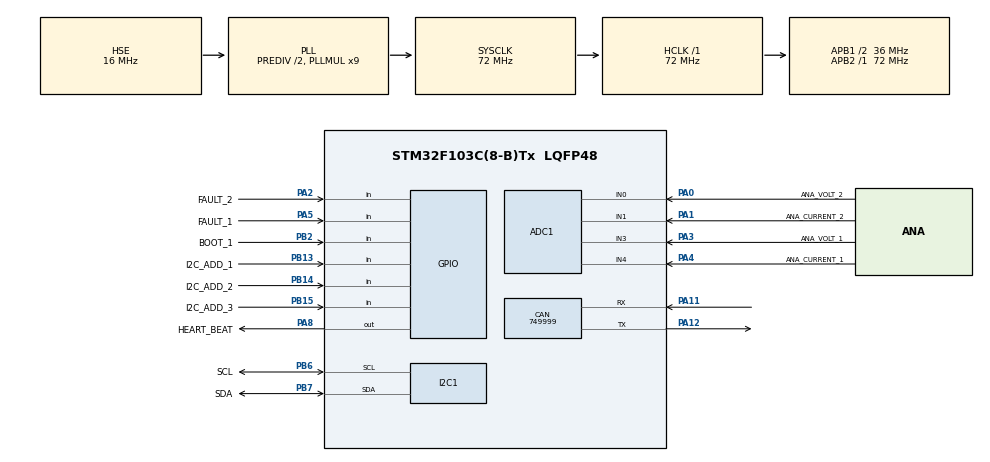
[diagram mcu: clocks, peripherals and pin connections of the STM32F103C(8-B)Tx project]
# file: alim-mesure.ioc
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ADC1.Channel-0\#ChannelRegularConversion=ADC_CHANNEL_0
ADC1.Channel-1\#ChannelRegularConversion=ADC_CHANNEL_1
ADC1.Channel-2\#ChannelRegularConversion=ADC_CHANNEL_3
ADC1.Channel-3\#ChannelRegularConversion=ADC_CHANNEL_4
ADC1.ContinuousConvMode=DISABLE
ADC1.EnableInjectedConversion=DISABLE
ADC1.ExternalTrigConv=ADC_SOFTWARE_START
ADC1.NbrOfConversion=4
ADC1.NbrOfConversionFlag=1
ADC1.Rank-0\#ChannelRegularConversion=1
ADC1.Rank-1\#ChannelRegularConversion=2
ADC1.Rank-2\#ChannelRegularConversion=3
ADC1.Rank-3\#ChannelRegularConversion=4
ADC1.SamplingTime-0\#ChannelRegularConversion=ADC_SAMPLETIME_1CYCLE_5
ADC1.SamplingTime-1\#ChannelRegularConversion=ADC_SAMPLETIME_1CYCLE_5
ADC1.SamplingTime-2\#ChannelRegularConversion=ADC_SAMPLETIME_1CYCLE_5
ADC1.SamplingTime-3\#ChannelRegularConversion=ADC_SAMPLETIME_1CYCLE_5
ADC1.master=1
CAN.CalculateBaudRate=749999
CAN.CalculateTimeBit=1333
CAN.CalculateTimeQuantum=444.44444444444446
Dma.I2C1_RX.0.Direction=DMA_PERIPH_TO_MEMORY
Dma.I2C1_RX.0.Instance=DMA1_Channel7
Dma.I2C1_RX.0.MemDataAlignment=DMA_MDATAALIGN_BYTE
Dma.I2C1_RX.0.MemInc=DMA_MINC_ENABLE
Dma.I2C1_RX.0.Mode=DMA_NORMAL
Dma.I2C1_RX.0.PeriphDataAlignment=DMA_PDATAALIGN_BYTE
Dma.I2C1_RX.0.PeriphInc=DMA_PINC_DISABLE
Dma.I2C1_RX.0.Priority=DMA_PRIORITY_HIGH
Dma.I2C1_TX.1.Direction=DMA_MEMORY_TO_PERIPH
Dma.I2C1_TX.1.Instance=DMA1_Channel6
Dma.I2C1_TX.1.MemDataAlignment=DMA_MDATAALIGN_BYTE
Dma.I2C1_TX.1.MemInc=DMA_MINC_ENABLE
Dma.I2C1_TX.1.Mode=DMA_NORMAL
Dma.I2C1_TX.1.PeriphDataAlignment=DMA_PDATAALIGN_BYTE
Dma.I2C1_TX.1.PeriphInc=DMA_PINC_DISABLE
Dma.I2C1_TX.1.Priority=DMA_PRIORITY_HIGH
Dma.Request0=I2C1_RX
Dma.Request1=I2C1_TX
FREERTOS.Tasks01=mainTask,24,256,StartMainTask,Default,NULL,Dynamic,NULL,NULL
FREERTOS.Timers01=heartBeatTimer,heartBeatCallback,osTimerPeriodic,Default,NULL,Dynamic,NULL
FREERTOS.configTIMER_TASK_PRIORITY=8
FREERTOS.configUSE_NEWLIB_REENTRANT=1
I2C1.DutyCycle=I2C_DUTYCYCLE_16_9
I2C1.I2C_Mode=I2C_Fast
I2C1.OwnAddress=i2cSlaveAddress
Mcu.Family=STM32F1
Mcu.Name=STM32F103C(8-B)Tx
Mcu.Package=LQFP48
Mcu.UserConstants=I2C_SLAVE_ADDRESS_BASE,0x20
NVIC.DMA1_Channel6_IRQn=true\:5\:0\:false\:false\:true\:true\:false\:true\:true
NVIC.DMA1_Channel7_IRQn=true\:5\:0\:false\:false\:true\:true\:false\:true\:true
NVIC.I2C1_ER_IRQn=true\:5\:0\:false\:false\:true\:false\:true\:true\:true
NVIC.I2C1_EV_IRQn=true\:5\:0\:false\:false\:true\:false\:true\:true\:true
NVIC.PriorityGroup=NVIC_PRIORITYGROUP_4
NVIC.TIM1_UP_IRQn=true\:0\:0\:false\:false\:true\:false\:false\:true\:true
NVIC.TimeBase=TIM1_UP_IRQn
NVIC.TimeBaseIP=TIM1
PA0-WKUP.GPIO_Label=ANA_VOLT_2
PA0-WKUP.Signal=ADCx_IN0
PA1.GPIO_Label=ANA_CURRENT_2
PA1.Signal=ADCx_IN1
PA11.Mode=CAN_Activate
PA11.Signal=CAN_RX
PA12.Mode=CAN_Activate
PA12.Signal=CAN_TX
PA13.Mode=Trace_Asynchronous_SW
PA13.Signal=SYS_JTMS-SWDIO
PA14.Mode=Trace_Asynchronous_SW
PA14.Signal=SYS_JTCK-SWCLK
PA2.GPIO_Label=FAULT_2
PA2.Signal=GPIO_Input
PA3.GPIO_Label=ANA_VOLT_1
PA3.Signal=ADCx_IN3
PA4.GPIO_Label=ANA_CURRENT_1
PA4.Signal=ADCx_IN4
PA5.GPIO_Label=FAULT_1
PA5.Signal=GPIO_Input
PA8.GPIO_Label=HEART_BEAT
PA8.Signal=GPIO_Output
PB13.GPIO_Label=I2C_ADD_1
PB13.Signal=GPIO_Input
PB14.GPIO_Label=I2C_ADD_2
PB14.Signal=GPIO_Input
PB15.GPIO_Label=I2C_ADD_3
PB15.Signal=GPIO_Input
PB2.GPIO_Label=BOOT_1
PB2.Signal=GPIO_Input
PB3.Mode=Trace_Asynchronous_SW
PB3.Signal=SYS_JTDO-TRACESWO
PB6.GPIO_Label=SCL
PB6.GPIO_Mode=GPIO_MODE_AF_OD
PB6.GPIO_Pu=GPIO_PULLUP
PB6.GPIO_Speed=GPIO_SPEED_FREQ_HIGH
PB6.Mode=I2C
PB6.Signal=I2C1_SCL
PB7.GPIO_Label=SDA
PB7.GPIO_Pu=GPIO_PULLUP
PB7.Mode=I2C
PB7.Signal=I2C1_SDA
PD0-OSC_IN.Mode=HSE-External-Oscillator
PD0-OSC_IN.Signal=RCC_OSC_IN
PD1-OSC_OUT.Mode=HSE-External-Oscillator
PD1-OSC_OUT.Signal=RCC_OSC_OUT
ProjectManager.HeapSize=0x200
ProjectManager.StackSize=0x400
ProjectManager.TargetToolchain=STM32CubeIDE
RCC.ADCPresc=RCC_ADCPCLK2_DIV6
RCC.AHBFreq_Value=72000000
RCC.APB1CLKDivider=RCC_HCLK_DIV2
RCC.APB1Freq_Value=36000000
RCC.APB1TimFreq_Value=72000000
RCC.APB2Freq_Value=72000000
RCC.APB2TimFreq_Value=72000000
RCC.HCLKFreq_Value=72000000
RCC.HSEDivPLL=RCC_HSE_PREDIV_DIV2
RCC.HSE_VALUE=16000000
RCC.PLLMUL=RCC_PLL_MUL9
RCC.PLLSourceVirtual=RCC_PLLSOURCE_HSE
RCC.SYSCLKFreq_VALUE=72000000
RCC.SYSCLKSource=RCC_SYSCLKSOURCE_PLLCLK
RCC.USBFreq_Value=72000000
SH.ADCx_IN0.0=ADC1_IN0,IN0
SH.ADCx_IN1.0=ADC1_IN1,IN1
SH.ADCx_IN3.0=ADC1_IN3,IN3
SH.ADCx_IN4.0=ADC1_IN4,IN4
VP_FREERTOS_VS_CMSIS_V2.Mode=CMSIS_V2
VP_SYS_VS_tim1.Mode=TIM1
board=custom

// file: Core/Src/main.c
/* USER CODE BEGIN Header */
/**
  ******************************************************************************
  * @file           : main.c
  * @brief          : Main program body
  ******************************************************************************
  * @attention
  *
  * Copyright (c) 2023 STMicroelectronics.
  * All rights reserved.
  *
  * This software is licensed under terms that can be found in the LICENSE file
  * in the root directory of this software component.
  * If no LICENSE file comes with this software, it is provided AS-IS.
  *
  ******************************************************************************
  */
/* USER CODE END Header */
#include "main.h"
#include "cmsis_os.h"
#include "adc.h"
#include "can.h"
#include "dma.h"
#include "i2c.h"
#include "gpio.h"

/* USER CODE BEGIN Includes */
#include "itm_log.h"
/* USER CODE END Includes */

/* USER CODE BEGIN PV */
Alimentation alim1;
Alimentation alim2;

uint32_t i2cErrorCode;
/* USER CODE END PV */

void SystemClock_Config(void);
void MX_FREERTOS_Init(void);

int main(void)
{

  /* MCU Configuration--------------------------------------------------------*/

  /* Reset of all peripherals, Initializes the Flash interface and the Systick. */
  HAL_Init();

  /* USER CODE BEGIN Init */
  LOG_INFO("main: Begin Init");
  /* USER CODE END Init */

  /* Configure the system clock */
  SystemClock_Config();

  /* USER CODE BEGIN SysInit */
  LOG_INFO("main: Begin SysInit");
  /* USER CODE END SysInit */

  /* Initialize all configured peripherals */
  MX_GPIO_Init();
  MX_DMA_Init();
  MX_ADC1_Init();
  MX_I2C1_Init();
  MX_CAN_Init();
  /* USER CODE BEGIN 2 */

  LOG_INFO("main: Start I²C listener");
  HAL_I2C_EnableListen_IT(&hi2c1);
  /* USER CODE END 2 */

  /* Init scheduler */
  osKernelInitialize();

  /* Call init function for freertos objects (in cmsis_os2.c) */
  MX_FREERTOS_Init();

  /* Start scheduler */
  osKernelStart();

  /* We should never get here as control is now taken by the scheduler */

  /* Infinite loop */
  /* USER CODE BEGIN WHILE */
#pragma clang diagnostic push
#pragma ide diagnostic ignored "EndlessLoop"
  while (1) {
    /* USER CODE END WHILE */

    /* USER CODE BEGIN 3 */
    LOG_WARN("main: Execution après init de FreeRTOS. Tres bizarre");
  }
#pragma clang diagnostic pop
  /* USER CODE END 3 */
}

void SystemClock_Config(void)
{
  RCC_OscInitTypeDef RCC_OscInitStruct = {0};
  RCC_ClkInitTypeDef RCC_ClkInitStruct = {0};
  RCC_PeriphCLKInitTypeDef PeriphClkInit = {0};

  /** Initializes the RCC Oscillators according to the specified parameters
  * in the RCC_OscInitTypeDef structure.
  */
  RCC_OscInitStruct.OscillatorType = RCC_OSCILLATORTYPE_HSE;
  RCC_OscInitStruct.HSEState = RCC_HSE_ON;
  RCC_OscInitStruct.HSEPredivValue = RCC_HSE_PREDIV_DIV2;
  RCC_OscInitStruct.HSIState = RCC_HSI_ON;
  RCC_OscInitStruct.PLL.PLLState = RCC_PLL_ON;
  RCC_OscInitStruct.PLL.PLLSource = RCC_PLLSOURCE_HSE;
  RCC_OscInitStruct.PLL.PLLMUL = RCC_PLL_MUL9;
  if (HAL_RCC_OscConfig(&RCC_OscInitStruct) != HAL_OK)
  {
    Error_Handler();
  }

  /** Initializes the CPU, AHB and APB buses clocks
  */
  RCC_ClkInitStruct.ClockType = RCC_CLOCKTYPE_HCLK|RCC_CLOCKTYPE_SYSCLK
                              |RCC_CLOCKTYPE_PCLK1|RCC_CLOCKTYPE_PCLK2;
  RCC_ClkInitStruct.SYSCLKSource = RCC_SYSCLKSOURCE_PLLCLK;
  RCC_ClkInitStruct.AHBCLKDivider = RCC_SYSCLK_DIV1;
  RCC_ClkInitStruct.APB1CLKDivider = RCC_HCLK_DIV2;
  RCC_ClkInitStruct.APB2CLKDivider = RCC_HCLK_DIV1;

  if (HAL_RCC_ClockConfig(&RCC_ClkInitStruct, FLASH_LATENCY_2) != HAL_OK)
  {
    Error_Handler();
  }
  PeriphClkInit.PeriphClockSelection = RCC_PERIPHCLK_ADC;
  PeriphClkInit.AdcClockSelection = RCC_ADCPCLK2_DIV6;
  if (HAL_RCCEx_PeriphCLKConfig(&PeriphClkInit) != HAL_OK)
  {
    Error_Handler();
  }
}

void HAL_TIM_PeriodElapsedCallback(TIM_HandleTypeDef *htim)
{
  if (htim->Instance == TIM1) {
    HAL_IncTick();
  }
}

void Error_Handler(void)
{
  /* USER CODE BEGIN Error_Handler_Debug */
  /* User can add his own implementation to report the HAL error return state */
  __disable_irq();
  LOG_ERROR("main: ERROR HANDLER");
#pragma clang diagnostic push
#pragma ide diagnostic ignored "EndlessLoop"
  while (1) {
    HAL_GPIO_WritePin(HEART_BEAT_GPIO_Port, HEART_BEAT_Pin, GPIO_PIN_RESET);
    osDelay(1000);
    for (int i = 0 ; i < 10 ; i++) {
      HAL_GPIO_TogglePin(HEART_BEAT_GPIO_Port, HEART_BEAT_Pin);
      osDelay(100);
    }
  }
#pragma clang diagnostic pop
  /* USER CODE END Error_Handler_Debug */
}

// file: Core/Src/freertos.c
/* USER CODE BEGIN Header */
/**
  ******************************************************************************
  * File Name          : freertos.c
  * Description        : Code for freertos applications
  ******************************************************************************
  * @attention
  *
  * Copyright (c) 2023 STMicroelectronics.
  * All rights reserved.
  *
  * This software is licensed under terms that can be found in the LICENSE file
  * in the root directory of this software component.
  * If no LICENSE file comes with this software, it is provided AS-IS.
  *
  ******************************************************************************
  */
/* USER CODE END Header */

#include "FreeRTOS.h"
#include "task.h"
#include "main.h"
#include "cmsis_os.h"

/* USER CODE BEGIN Includes */
#include "adc.h"
#include "itm_log.h"
/* USER CODE END Includes */

/* Definitions for mainTask */
osThreadId_t mainTaskHandle;
const osThreadAttr_t mainTask_attributes = {
  .name = "mainTask",
  .stack_size = 256 * 4,
  .priority = (osPriority_t) osPriorityNormal,
};
/* Definitions for heartBeatTimer */
osTimerId_t heartBeatTimerHandle;
const osTimerAttr_t heartBeatTimer_attributes = {
  .name = "heartBeatTimer"
};

void StartMainTask(void *argument);
void heartBeatCallback(void *argument);

void MX_FREERTOS_Init(void); /* (MISRA C 2004 rule 8.1) */

void MX_FREERTOS_Init(void) {
  /* USER CODE BEGIN Init */
  LOG_INFO("freertos: Init FreeRTOS");
  /* USER CODE END Init */

  /* Create the timer(s) */
  /* creation of heartBeatTimer */
  heartBeatTimerHandle = osTimerNew(heartBeatCallback, osTimerPeriodic, NULL, &heartBeatTimer_attributes);

  /* Create the thread(s) */
  /* creation of mainTask */
  mainTaskHandle = osThreadNew(StartMainTask, NULL, &mainTask_attributes);

}

void StartMainTask(void *argument)
{
  /* USER CODE BEGIN StartMainTask */
  LOG_INFO("mainTask: Start");

  // Start timers after boot init
  osTimerStart(heartBeatTimerHandle, 1000);

  /* Infinite loop */
#pragma clang diagnostic push
#pragma ide diagnostic ignored "EndlessLoop"
  while (true) {
    LOG_INFO("ioTask: Read fault states");
    alim1.fault = HAL_GPIO_ReadPin(FAULT_1_GPIO_Port, FAULT_1_Pin) == GPIO_PIN_RESET;
    alim2.fault = HAL_GPIO_ReadPin(FAULT_2_GPIO_Port, FAULT_2_Pin) == GPIO_PIN_RESET;

    uint32_t rawAdc;

    LOG_INFO("ioTask: Read ADC Alim 1 Volt");
    adcSelectAlim1Volt();
    HAL_ADC_Start(&hadc1);
    HAL_ADC_PollForConversion(&hadc1, 1000);
    rawAdc = HAL_ADC_GetValue(&hadc1);
    HAL_ADC_Stop(&hadc1);
    alim1.tension = (rawAdc / ADC_RESOLUTION) * (V_REF / DIVISEUR_TENSION);

    LOG_INFO("ioTask: Read ADC Alim 1 Current");
    adcSelectAlim1Current();
    HAL_ADC_Start(&hadc1);
    HAL_ADC_PollForConversion(&hadc1, 1000);
    rawAdc = HAL_ADC_GetValue(&hadc1);
    HAL_ADC_Stop(&hadc1);
    alim1.current = (rawAdc / ADC_RESOLUTION) * V_REF * ACS_RESOLUTION;

    LOG_INFO("ioTask: Read ADC Alim 2 Volt");
    adcSelectAlim2Volt();
    HAL_ADC_Start(&hadc1);
    HAL_ADC_PollForConversion(&hadc1, 1000);
    rawAdc = HAL_ADC_GetValue(&hadc1);
    HAL_ADC_Stop(&hadc1);
    alim2.tension = (rawAdc / ADC_RESOLUTION) * (V_REF / DIVISEUR_TENSION);

    LOG_INFO("ioTask: Read ADC Alim 2 Current");
    adcSelectAlim2Current();
    HAL_ADC_Start(&hadc1);
    HAL_ADC_PollForConversion(&hadc1, 1000);
    rawAdc = HAL_ADC_GetValue(&hadc1);
    HAL_ADC_Stop(&hadc1);
    alim2.current = (rawAdc / ADC_RESOLUTION) * V_REF * ACS_RESOLUTION;

    osDelay(1000);
  }
#pragma clang diagnostic pop
  /* USER CODE END StartMainTask */
}

/* heartBeatCallback function */
void heartBeatCallback(void *argument)
{
  /* USER CODE BEGIN heartBeatCallback */
  if (i2cErrorCode == HAL_I2C_ERROR_NONE && !alim1.fault && !alim2.fault) { // Pas d'erreur
    HAL_GPIO_TogglePin(HEART_BEAT_GPIO_Port, HEART_BEAT_Pin);

  } else { // Erreur I2C ou alim
    HAL_GPIO_WritePin(HEART_BEAT_GPIO_Port, HEART_BEAT_Pin, GPIO_PIN_SET);
  }
  /* USER CODE END heartBeatCallback */
}
